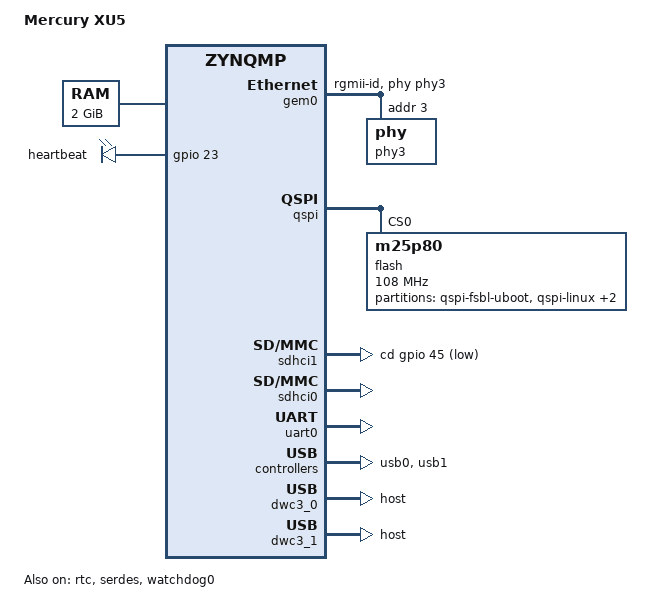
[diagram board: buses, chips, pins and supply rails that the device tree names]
/*
 * dts file for Xilinx ZynqMP Enclustra
 *
 * (C) Copyright 2019, Istituto Italiano di Tecnologia
 * Electronic Design Laboratory
 *
 * Andrea Merello <andrea.merello@gmail.com>
 *
 * Based on dts file for Xilinx ZynqMP ZCU102
 * which is (C) Copyright 2015, Xilinx, Inc.
 *
 * SPDX-License-Identifier:	GPL-2.0+
 */

/dts-v1/;

#include "zynqmp.dtsi"
#include "zynqmp-clk.dtsi"
#include <dt-bindings/gpio/gpio.h>
#include <dt-bindings/phy/phy.h>

/ {
	model = "Mercury XU5";
	compatible = "xlnx,zynqmp";

	aliases {
		ethernet0 = &gem0;
		gpio0 = &gpio;
		serial0 = &uart0;
		spi0 = &qspi;
		mmc0 = &sdhci1;
		mmc1 = &sdhci0;
	};

	chosen {
		bootargs = "earlycon";
		stdout-path = "serial0:115200n8";
	};

	memory {
		device_type = "memory";
		reg = <0x0 0x0 0x0 0x80000000>;
	};

	leds {
		compatible = "gpio-leds";
		heartbeat_led {
			label = "heartbeat";
			gpios = <&gpio 23 0>;
			linux,default-trigger = "heartbeat";
		};
	};

};

/* fpd_dma clk 667MHz, lpd_dma 500MHz */
&fpd_dma_chan1 {
	status = "okay";
	xlnx,include-sg; /* for testing purpose */
	xlnx,overfetch; /* for testing purpose */
	xlnx,ratectrl = <0>; /* for testing purpose */
	xlnx,src-issue = <31>;
};

&fpd_dma_chan2 {
	status = "okay";
	xlnx,ratectrl = <100>; /* for testing purpose */
	xlnx,src-issue = <4>; /* for testing purpose */
};

&fpd_dma_chan3 {
	status = "okay";
};

&fpd_dma_chan4 {
	status = "okay";
	xlnx,include-sg; /* for testing purpose */
};

&fpd_dma_chan5 {
	status = "okay";
};

&fpd_dma_chan6 {
	status = "okay";
	xlnx,include-sg; /* for testing purpose */
};

&fpd_dma_chan7 {
	status = "okay";
};

&fpd_dma_chan8 {
	status = "okay";
	xlnx,include-sg; /* for testing purpose */
};


&gpio {
	status = "okay";
};


&rtc {
	status = "okay";
};

&serdes {
	status = "okay";
};

&gem0 {
	status = "okay";
	local-mac-address = [00 0a 35 00 02 90];
	phy-handle = <&phy3>;
	phy-mode = "rgmii-id";
	phy3: phy@3 {
		reg = <0x3>;
	};
};

&qspi {
	status = "okay";
	is-dual = <0>;
	bytemode = <0>;
	flash@0 {
		compatible = "m25p80"; /* 32MB */
		#address-cells = <1>;
		#size-cells = <1>;
		reg = <0x0>;
		spi-tx-bus-width = <1>;
		spi-rx-bus-width = <4>; /* FIXME also DUAL configuration possible */
		spi-max-frequency = <108000000>; /* Based on DC1 spec */
		partition@qspi-fsbl-uboot { /* for testing purpose */
			label = "qspi-fsbl-uboot";
			reg = <0x0 0x100000>;
		};
		partition@qspi-linux { /* for testing purpose */
			label = "qspi-linux";
			reg = <0x100000 0x500000>;
		};
		partition@qspi-device-tree { /* for testing purpose */
			label = "qspi-device-tree";
			reg = <0x600000 0x20000>;
		};
		partition@qspi-rootfs { /* for testing purpose */
			label = "qspi-rootfs";
			reg = <0x620000 0x5E0000>;
		};
	};
};

/* SD1 with level shifter */
&sdhci1 {
	status = "okay";
	no-1-8-v;	/* for 1.0 silicon */
	xlnx,mio_bank = <1>;
	cd-gpios = <&gpio 45 GPIO_ACTIVE_LOW>; /* PS_MIO45_SDCD# */
};

&sdhci0 {
	status = "okay";
	no-1-8-v;	/* for 1.0 silicon */
	is_emmc;
};

&uart0 {
	status = "okay";
};


/* ULPI SMSC USB3320 */
&usb0 {
	status = "okay";
};

&dwc3_0 {
	status = "okay";
	/* Peripheral and OTG mode not working - usb reset issue */
	dr_mode = "host";
};

&usb1 {
	status = "okay";
};

&dwc3_1 {
	status = "okay";
	dr_mode = "host";
};

&watchdog0 {
	status = "okay";
};
